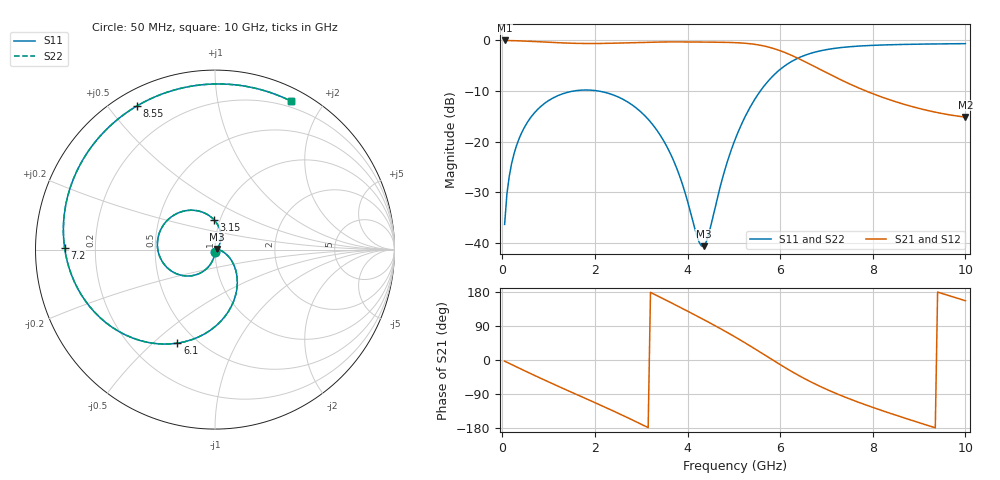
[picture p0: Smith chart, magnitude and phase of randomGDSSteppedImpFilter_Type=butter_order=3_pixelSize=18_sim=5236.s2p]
! freq	dB(S11)	phase(S11)	dB(S12)	phase(S12)
!  dB(S21)	phase(S21)	dB(S22)	phase(S22)
!S-par simulation data
#  GHz  S  DB  R 50
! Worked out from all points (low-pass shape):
!   200 points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, 50 MHz to 10 GHz, reference 50 ohm
!   highest |S21| = 0.00 dB at 50 MHz (marker M1); lowest = -15.1 dB at 10 GHz (marker M2)
!   |S21| within 3 dB of the highest: start of sweep to 6.262 GHz
!   lowest |S11| = -40.6 dB at 4.35 GHz (marker M3), VSWR 1.02, Z = 50.9 + j0.282 ohm
!   |S11| at or under -10 dB: start of sweep to 1.532 GHz; 2.086 GHz to 5.571 GHz (3.485 GHz wide, 91 % of centre)
!   |S22| runs from -40.6 to -0.6 dB; largest |S21 - S12| = 0
!   S11 on the Smith chart (normalised r, x): 50 MHz: 1.00, -0.03; 3.15 GHz: 0.94, +0.32; 6.1 GHz: 0.39, -0.60; 7.2 GHz: 0.09, +0.01; 8.55 GHz: 0.06, +0.59; 10 GHz: 0.13, +1.63
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0.05  -36.30 -92.8  -0.00 -3.0  -0.00 -3.0  -36.30 -92.8
0.1  -30.31 -95.9  -0.01 -6.0  -0.01 -6.0  -30.31 -95.9
0.2  -24.37 -102.0  -0.04 -11.9  -0.04 -11.9  -24.37 -102.0
0.5  -16.79 -119.9  -0.13 -29.4  -0.13 -29.4  -16.79 -119.9
1.1  -11.34 -154.0  -0.40 -63.4  -0.40 -63.4  -11.34 -154.0
1.75  -9.79 170.6  -0.60 -98.9  -0.60 -98.9  -9.79 170.6
2.4  -10.77 135.0  -0.55 -134.7  -0.55 -134.7  -10.77 135.1
3.15  -15.56 92.0  -0.35 -178.5  -0.35 -178.5  -15.56 92.1
3.4  -18.56 77.3  -0.31 166.3  -0.31 166.3  -18.55 77.4
3.85  -27.31 51.0  -0.29 138.4  -0.29 138.4  -27.30 51.3
4.2  -38.50 30.6  -0.31 116.2  -0.31 116.2  -38.48 31.1
4.35  -40.60 17.3  -0.32 106.6  -0.32 106.6  -40.58 17.7
5.05  -19.03 -33.9  -0.44 59.2  -0.44 59.2  -19.02 -33.9
5.6  -9.63 -74.1  -1.00 18.3  -1.00 18.3  -9.63 -74.1
6.1  -5.01 -111.8  -2.38 -19.6  -2.38 -19.6  -5.01 -111.9
6.7  -2.43 -152.4  -4.96 -60.0  -4.96 -60.0  -2.43 -152.4
7.2  -1.53 179.4  -7.29 -87.9  -7.29 -87.9  -1.53 179.3
7.7  -1.11 155.0  -9.40 -111.9  -9.40 -111.9  -1.11 155.0
8.35  -0.86 126.8  -11.67 -139.7  -11.67 -139.7  -0.86 126.8
8.55  -0.81 118.6  -12.26 -147.7  -12.26 -147.7  -0.81 118.6
9.25  -0.70 91.1  -13.96 -175.1  -13.96 -175.1  -0.70 91.1
10  -0.64 62.8  -15.13 156.4  -15.13 156.4  -0.64 62.8
